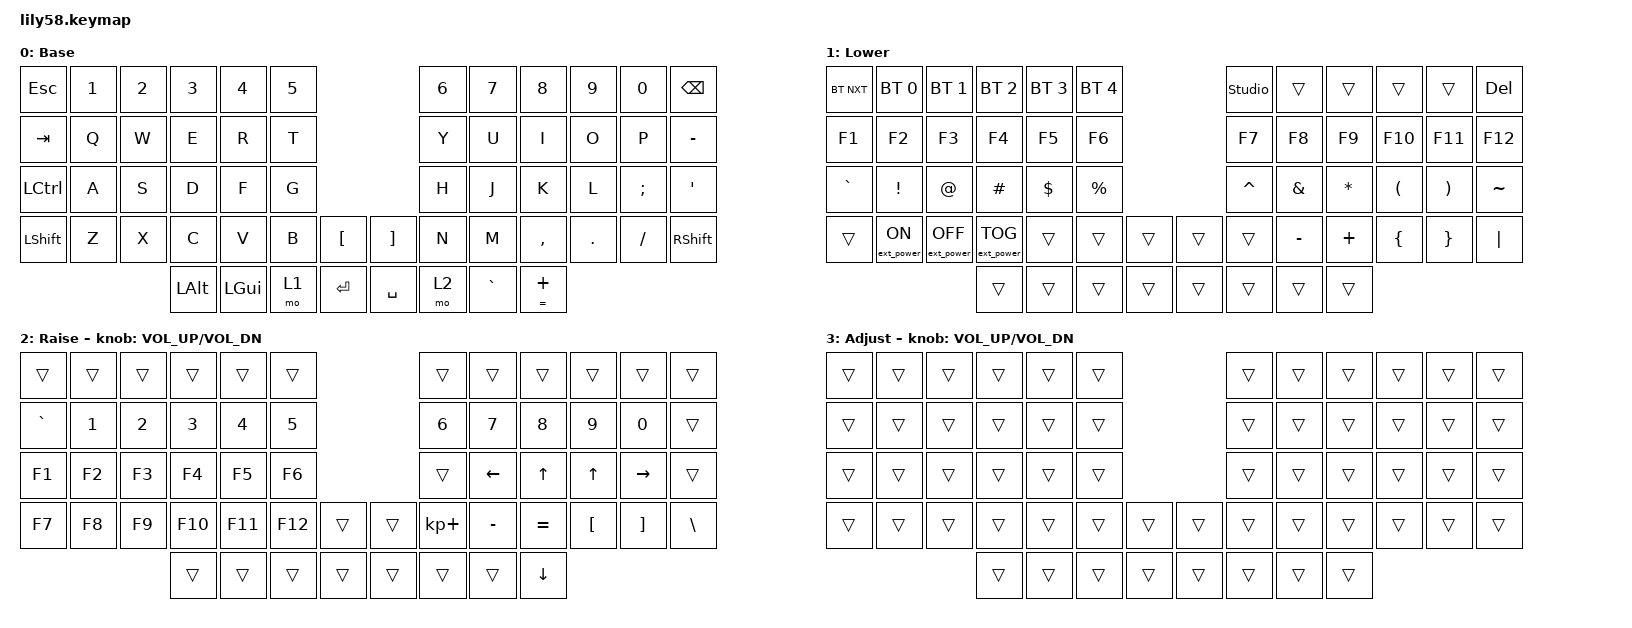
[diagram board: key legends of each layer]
/*
 * Copyright (c) 2020 The ZMK Contributors
 *
 * SPDX-License-Identifier: MIT
 */

#include <behaviors.dtsi>
#include <dt-bindings/zmk/bt.h>
#include <dt-bindings/zmk/ext_power.h>
#include <dt-bindings/zmk/keys.h>

#define default_layer 0
#define lower_layer 1
#define raise_layer 2
#define adjust_layer 3

/ {
    combos {
        compatible = "zmk,combos";

        test1 {
            bindings = <&mt LEFT_CONTROL C>;
            key-positions = <39 42>;
            layers = <0>;
        };

        cut {
            bindings = <&mt LEFT_CONTROL X>;
            key-positions = <38 42>;
            layers = <0>;
        };

        paste {
            bindings = <&mt LEFT_CONTROL V>;
            key-positions = <40 42>;
            layers = <0>;
        };

        Volup {
            bindings = <&kp K_VOLUME_UP>;
            key-positions = <41 42>;
            layers = <0>;
        };

        Voldn {
            bindings = <&kp K_VOLUME_DOWN>;
            key-positions = <29 42>;
            layers = <0>;
        };
    };

    keymap {
        compatible = "zmk,keymap";

        default_layer {
            display-name = "Base";

            // ------------------------------------------------------------------------------------------------------------
            // |  ESC  |  1  |  2  |  3   |  4   |  5   |                   |  6   |  7    |  8    |  9   |   0   |   `   |
            // |  TAB  |  Q  |  W  |  E   |  R   |  T   |                   |  Y   |  U    |  I    |  O   |   P   |   -   |
            // |  CTRL |  A  |  S  |  D   |  F   |  G   |                   |  H   |  J    |  K    |  L   |   ;   |   '   |
            // | SHIFT |  Z  |  X  |  C   |  V   |  B   |   "["  |  |  "]"  |  N   |  M    |  ,    |  .   |   /   | SHIFT |
            //                     | ALT  | GUI  | LOWER|  SPACE |  | ENTER | RAISE| BSPC  | GUI   |

            bindings = <
&kp ESC    &kp N1  &kp N2  &kp N3    &kp N4    &kp N5                           &kp N6  &kp N7     &kp N8          &kp N9   &kp N0    &kp BACKSPACE
&kp TAB    &kp Q   &kp W   &kp E     &kp R     &kp T                            &kp Y   &kp U      &kp I           &kp O    &kp P     &kp MINUS
&kp LCTRL  &kp A   &kp S   &kp D     &kp F     &kp G                            &kp H   &kp J      &kp K           &kp L    &kp SEMI  &kp SQT
&kp LSHFT  &kp Z   &kp X   &kp C     &kp V     &kp B   &kp LBKT      &kp RBKT   &kp N   &kp M      &kp COMMA       &kp DOT  &kp FSLH  &kp RSHFT
                           &kp LALT  &kp LGUI  &mo 1   &kp RETURN    &kp SPACE  &mo 2   &kp GRAVE  &mt EQUAL PLUS
            >;
        };

        lower_layer {
            display-name = "Lower";

            // ------------------------------------------------------------------------------------------------------------
            // | BTCLR | BT1 | BT2 |  BT3 |  BT4 |  BT5 |                   |      |       |       |      |       |       |
            // |  F1   |  F2 |  F3 |  F4  |  F5  |  F6  |                   |  F7  |  F8   |  F9   |  F10 |  F11  |  F12  |
            // |   `   |  !  |  @  |  #   |  $   |  %   |                   |  ^   |  &    |  *    |  (   |   )   |   ~   |
            // |       |     |     |      |      |      |        |  |       |      |  _    |  +    |  {   |   }   |  "|"  |
            //                     |      |      |      |        |  |       |      |       |       |

            bindings = <
&bt BT_NXT  &bt BT_SEL 0      &bt BT_SEL 1       &bt BT_SEL 2       &bt BT_SEL 3  &bt BT_SEL 4                    &studio_unlock  &trans     &trans     &trans    &trans    &kp DELETE
&kp F1      &kp F2            &kp F3             &kp F4             &kp F5        &kp F6                          &kp F7          &kp F8     &kp F9     &kp F10   &kp F11   &kp F12
&kp GRAVE   &kp EXCL          &kp AT             &kp HASH           &kp DOLLAR    &kp PRCNT                       &kp CARET       &kp AMPS   &kp ASTRK  &kp LPAR  &kp RPAR  &kp TILDE
&trans      &ext_power EP_ON  &ext_power EP_OFF  &ext_power EP_TOG  &trans        &trans        &trans    &trans  &trans          &kp MINUS  &kp PLUS   &kp LBRC  &kp RBRC  &kp PIPE
                                                 &trans             &trans        &trans        &trans    &trans  &trans          &trans     &trans
            >;
        };

        raise_layer {
            display-name = "Raise";

            // ------------------------------------------------------------------------------------------------------------
            // |       |     |     |      |      |      |                   |      |       |       |      |       |       |
            // |   `   |  1  |  2  |  3   |  4   |  5   |                   |  6   |   7   |   8   |  9   |   0   |       |
            // |   F1  |  F2 |  F3 |  F4  |  F5  |  F6  |                   |      |   <-  |   v   |  ^   |  ->   |       |
            // |   F7  |  F8 |  F9 |  F10 |  F11 |  F12 |        |  |       |  +   |   -   |   =   |  [   |   ]   |   \   |
            //                     |      |      |      |        |  |       |      |       |       |

            bindings = <
&trans     &trans  &trans  &trans   &trans   &trans                     &trans       &trans     &trans        &trans    &trans     &trans
&kp GRAVE  &kp N1  &kp N2  &kp N3   &kp N4   &kp N5                     &kp N6       &kp N7     &kp N8        &kp N9    &kp N0     &trans
&kp F1     &kp F2  &kp F3  &kp F4   &kp F5   &kp F6                     &trans       &kp LEFT   &kp UP_ARROW  &kp UP    &kp RIGHT  &trans
&kp F7     &kp F8  &kp F9  &kp F10  &kp F11  &kp F12  &trans    &trans  &kp KP_PLUS  &kp MINUS  &kp EQUAL     &kp LBKT  &kp RBKT   &kp BSLH
                           &trans   &trans   &trans   &trans    &trans  &trans       &trans     &kp DOWN
            >;

            sensor-bindings = <&inc_dec_kp C_VOL_UP C_VOL_DN>;
        };

        adjust_layer {
            display-name = "Adjust";

            // ------------------------------------------------------------------------------------------------------------
            // |       |     |     |      |      |      |                   |      |       |       |      |       |       |
            // |   `   |  1  |  2  |  3   |  4   |  5   |                   |  6   |   7   |   8   |  9   |   0   |       |
            // |   F1  |  F2 |  F3 |  F4  |  F5  |  F6  |                   |      |   <-  |   v   |  ^   |  ->   |       |
            // |   F7  |  F8 |  F9 |  F10 |  F11 |  F12 |        |  |       |  +   |   -   |   =   |  [   |   ]   |   \   |
            //                     |      |      |      |        |  |       |      |       |       |

            bindings = <
&trans  &trans  &trans  &trans  &trans  &trans                    &trans  &trans  &trans  &trans  &trans  &trans
&trans  &trans  &trans  &trans  &trans  &trans                    &trans  &trans  &trans  &trans  &trans  &trans
&trans  &trans  &trans  &trans  &trans  &trans                    &trans  &trans  &trans  &trans  &trans  &trans
&trans  &trans  &trans  &trans  &trans  &trans  &trans    &trans  &trans  &trans  &trans  &trans  &trans  &trans
                        &trans  &trans  &trans  &trans    &trans  &trans  &trans  &trans
            >;

            sensor-bindings = <&inc_dec_kp C_VOL_UP C_VOL_DN>;
        };
    };
};
